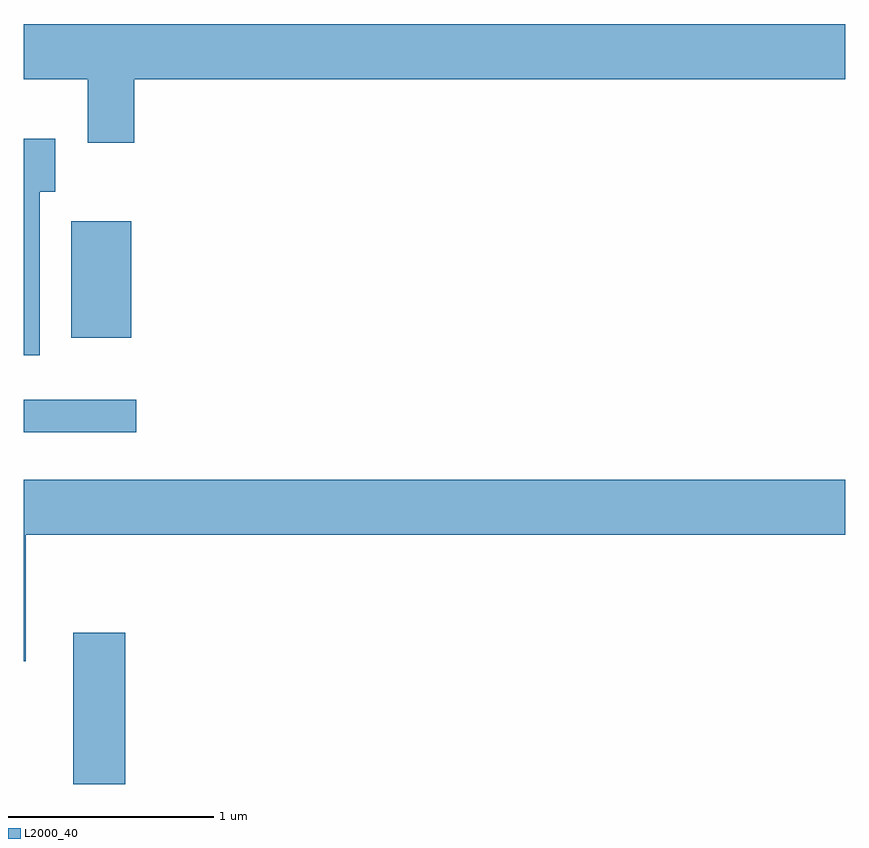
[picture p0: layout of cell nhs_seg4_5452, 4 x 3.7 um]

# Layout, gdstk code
import gdstk
lib = gdstk.Library(unit=1e-6, precision=1e-09)
def R(c, l, rs):  # rectangles x0, y0, x1, y1
    for r in rs: c.add(gdstk.rectangle(r[:2], r[2:], *l))
def P(c, l, *ps):  # polygons
    for p in ps: c.add(gdstk.Polygon(p, *l))
L2000_40 = (2000, 40)

nhs_seg4_5452 = lib.new_cell('nhs_seg4_5452')
R(nhs_seg4_5452, L2000_40, [(345.851,1277.982,346.104,1278.719), (345.611,1279.696,346.158,1279.854), (345.841,1280.156,346.134,1280.724)])
P(nhs_seg4_5452, L2000_40, [(346.149,1281.416),(349.611,1281.416),(349.611,1281.684),(345.611,1281.684),(345.611,1281.416),(345.921,1281.416),(345.921,1281.106),(346.149,1281.106)],
  [(345.689,1280.866),(345.764,1280.866),(345.764,1281.124),(345.611,1281.124),(345.611,1280.071),(345.689,1280.071)],
  [(345.619,1279.196),(349.611,1279.196),(349.611,1279.464),(345.611,1279.464),(345.611,1278.581),(345.619,1278.581)])

lib.write_gds('nhs_seg4_5452.gds')
